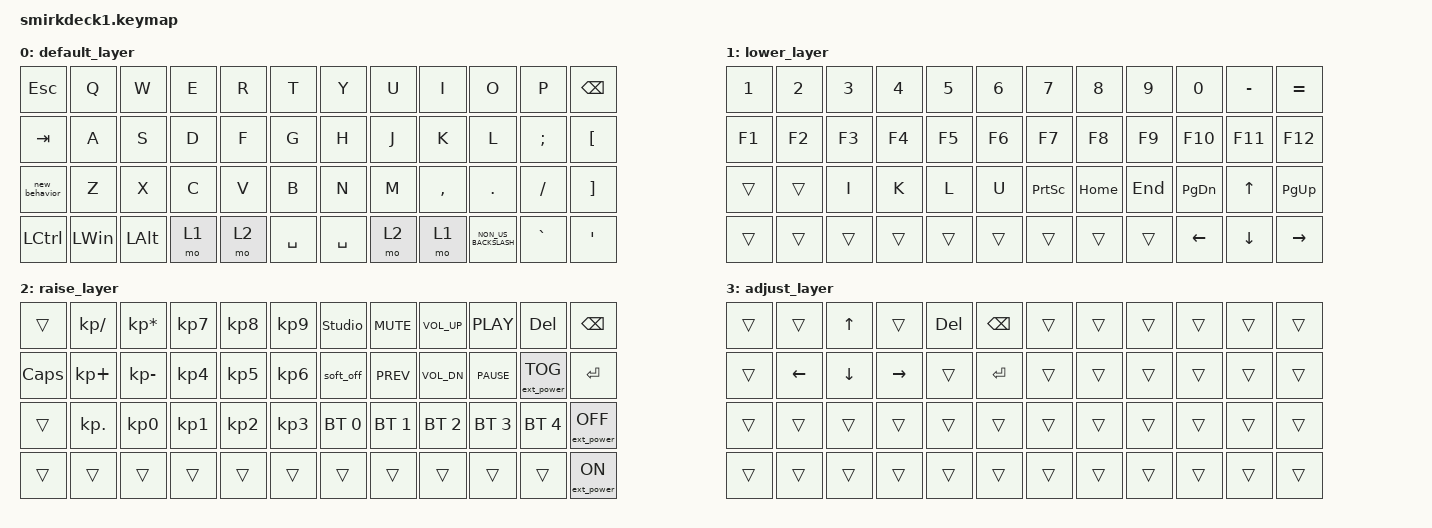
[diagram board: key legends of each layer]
/*
 * Copyright (c) 2020 The ZMK Contributors
 *
 * SPDX-License-Identifier: MIT
 */

#include <behaviors.dtsi>
#include <dt-bindings/zmk/bt.h>
#include <dt-bindings/zmk/ext_power.h>
#include <dt-bindings/zmk/keys.h>

/ {
    combos {
        compatible = "zmk,combos";

        power_combo {
            bindings = <&ext_power EP_TOG>;
            key-positions = <0 11>;
        };

        MO_3 {
            bindings = <&mo 3>;
            key-positions = <39 40>;
        };

        MO_3_R {
            bindings = <&mo 3>;
            key-positions = <44 43>;
        };
    };

    behaviors {
        new_behavior: new_behavior {
            compatible = "zmk,behavior-tap-dance";
            label = "NEW_BEHAVIOR";
            #binding-cells = <0>;
            bindings = <&kp LEFT_SHIFT>, <&kp CLCK>;

            tapping-term-ms = <50>;
        };
    };

    keymap {
        compatible = "zmk,keymap";

        default_layer {
            bindings = <
&kp ESC        &kp Q         &kp W         &kp E  &kp R  &kp T      &kp Y      &kp U  &kp I      &kp O                 &kp P          &kp BSPC
&kp TAB        &kp A         &kp S         &kp D  &kp F  &kp G      &kp H      &kp J  &kp K      &kp L                 &kp SEMICOLON  &kp LEFT_BRACKET
&new_behavior  &kp Z         &kp X         &kp C  &kp V  &kp B      &kp N      &kp M  &kp COMMA  &kp PERIOD            &kp SLASH      &kp RIGHT_BRACKET
&kp LCTRL      &kp LEFT_WIN  &kp LEFT_ALT  &mo 1  &mo 2  &kp SPACE  &kp SPACE  &mo 2  &mo 1      &kp NON_US_BACKSLASH  &kp GRAVE      &kp SQT
            >;
        };

        lower_layer {
            bindings = <
&kp NUMBER_1  &kp NUMBER_2  &kp NUMBER_3  &kp NUMBER_4  &kp N5  &kp NUMBER_6  &kp N7     &kp N8    &kp N9   &kp N0     &kp MINUS       &kp EQUAL
&kp F1        &kp F2        &kp F3        &kp F4        &kp F5  &kp F6        &kp F7     &kp F8    &kp F9   &kp F10    &kp F11         &kp F12
&trans        &trans        &kp I         &kp K         &kp L   &kp U         &kp PSCRN  &kp HOME  &kp END  &kp PG_DN  &kp UP_ARROW    &kp PAGE_UP
&trans        &trans        &trans        &trans        &trans  &trans        &trans     &trans    &trans   &kp LEFT   &kp DOWN_ARROW  &kp RIGHT
            >;
        };

        raise_layer {
            bindings = <
&trans    &kp KP_DIVIDE  &kp KP_ASTERISK  &kp KP_NUMBER_7  &kp KP_NUMBER_8  &kp KP_NUMBER_9  &studio_unlock  &kp C_MUTE    &kp C_VOLUME_UP  &kp C_PLAY    &kp DELETE         &kp BACKSPACE
&kp CLCK  &kp KP_PLUS    &kp KP_MINUS     &kp KP_NUMBER_4  &kp KP_NUMBER_5  &kp KP_NUMBER_6  &soft_off       &kp C_PREV    &kp C_VOL_DN     &kp C_PAUSE   &ext_power EP_TOG  &kp ENTER
&trans    &kp KP_DOT     &kp KP_NUMBER_0  &kp KP_NUMBER_1  &kp KP_NUMBER_2  &kp KP_NUMBER_3  &bt BT_SEL 0    &bt BT_SEL 1  &bt BT_SEL 2     &bt BT_SEL 3  &bt BT_SEL 4       &ext_power EP_OFF
&trans    &trans         &trans           &trans           &trans           &trans           &trans          &trans        &trans           &trans        &trans             &ext_power EP_ON
            >;
        };

        adjust_layer {
            bindings = <
&trans  &trans          &kp UP_ARROW    &trans           &kp DELETE  &kp BACKSPACE  &trans  &trans  &trans  &trans  &trans  &trans
&trans  &kp LEFT_ARROW  &kp DOWN_ARROW  &kp RIGHT_ARROW  &trans      &kp ENTER      &trans  &trans  &trans  &trans  &trans  &trans
&trans  &trans          &trans          &trans           &trans      &trans         &trans  &trans  &trans  &trans  &trans  &trans
&trans  &trans          &trans          &trans           &trans      &trans         &trans  &trans  &trans  &trans  &trans  &trans
            >;
        };
    };
};
